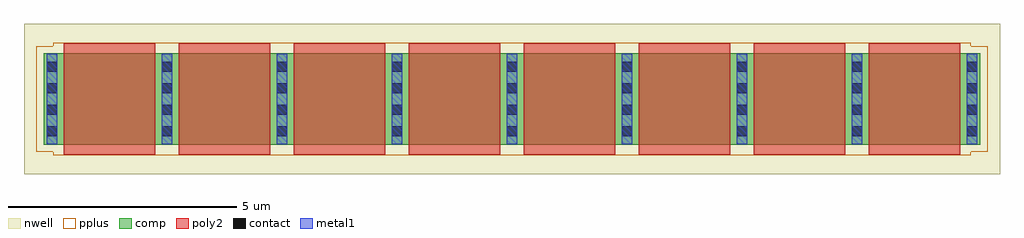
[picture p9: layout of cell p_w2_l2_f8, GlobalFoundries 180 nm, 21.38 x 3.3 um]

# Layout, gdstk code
import gdstk
lib = gdstk.Library(unit=1e-6, precision=1e-09)
def R(c, l, rs):  # rectangles x0, y0, x1, y1
    for r in rs: c.add(gdstk.rectangle(r[:2], r[2:], *l))
def A(c, l, x, y, w, h, nx, ny, dx, dy):  # array of equal rectangles
    R(c, l, [(x+i*dx, y+j*dy, x+i*dx+w, y+j*dy+h) for i in range(nx) for j in range(ny)])
nwell = (21, 0)
comp = (22, 0)
poly2 = (30, 0)
pplus = (31, 0)
contact = (33, 0)
metal1 = (34, 0)

p_w2_l2_f8 = lib.new_cell('p_w2_l2_f8')
R(p_w2_l2_f8, nwell, [(-10.69,-1.65,10.69,1.65)])
R(p_w2_l2_f8, comp, [(-10.26,-1,10.26,1)])
A(p_w2_l2_f8, poly2, -9.82, -1.22, 2, 2.44, 8, 1, 2.52, 0)
R(p_w2_l2_f8, pplus, [(-10.05,-1.23,10.05,-1.16), (-10.42,-1.16,10.42,1.16), (-10.05,1.16,10.05,1.23)])
A(p_w2_l2_f8, contact, -10.19, -0.815, 0.22, 0.22, 9, 4, 2.52, 0.47)
A(p_w2_l2_f8, metal1, -10.195, -0.99, 0.23, 1.98, 9, 1, 2.52, 0)

lib.write_gds('p_w2_l2_f8.gds')
